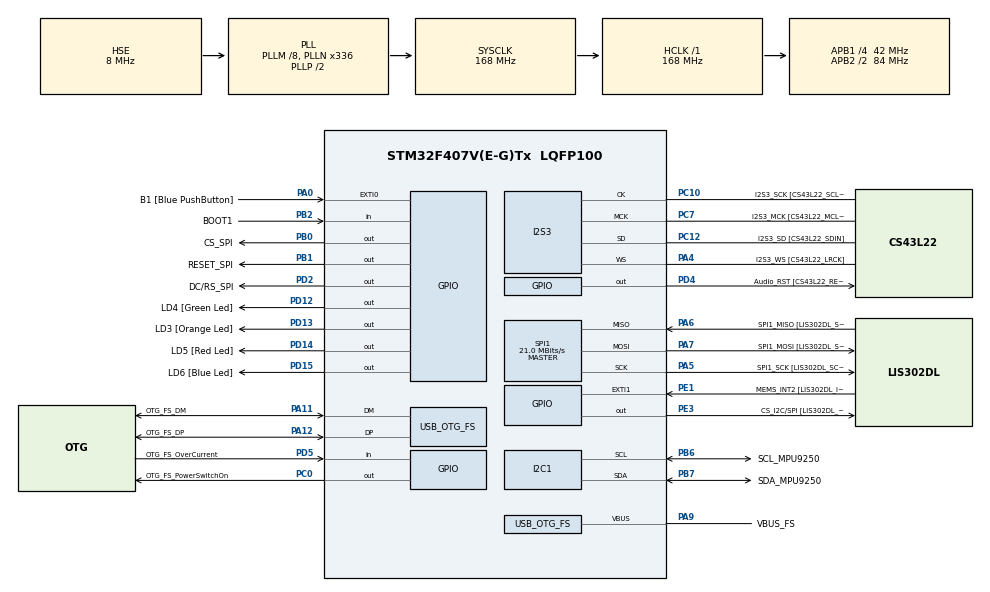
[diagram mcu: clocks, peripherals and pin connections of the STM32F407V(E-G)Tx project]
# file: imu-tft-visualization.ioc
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I2C1.I2C_Mode=I2C_Fast
I2S3.AudioFreq-Half_Duplex_Master=I2S_AUDIOFREQ_96K
I2S3.ErrorAudioFreq=-2.34 %
I2S3.ErrorAudioFreq-Half_Duplex_Master=0.8 %
I2S3.FullDuplexMode=I2S_FULLDUPLEXMODE_DISABLE
I2S3.Instance=SPI$Index
I2S3.RealAudioFreq=93.75 KHz
I2S3.RealAudioFreq-Half_Duplex_Master=96.774 KHz
I2S3.VirtualMode=I2S_MODE_MASTER
Mcu.Family=STM32F4
Mcu.Name=STM32F407V(E-G)Tx
Mcu.Package=LQFP100
NVIC.OTG_FS_IRQn=true\:0\:0\:false\:false\:true\:true\:true\:true
NVIC.PriorityGroup=NVIC_PRIORITYGROUP_0
PA0-WKUP.GPIO_Label=B1 [Blue PushButton]
PA0-WKUP.GPIO_ModeDefaultEXTI=GPIO_MODE_EVT_RISING
PA0-WKUP.GPIO_PuPd=GPIO_NOPULL
PA0-WKUP.Signal=GPXTI0
PA10.GPIO_Label=OTG_FS_ID
PA10.GPIO_Mode=GPIO_MODE_AF_PP
PA10.GPIO_PuPd=GPIO_NOPULL
PA10.GPIO_Speed=GPIO_SPEED_FREQ_LOW
PA10.Signal=USB_OTG_FS_ID
PA11.GPIO_Label=OTG_FS_DM
PA11.GPIO_Mode=GPIO_MODE_AF_PP
PA11.GPIO_PuPd=GPIO_NOPULL
PA11.GPIO_Speed=GPIO_SPEED_FREQ_LOW
PA11.Mode=Host_Only
PA11.Signal=USB_OTG_FS_DM
PA12.GPIO_Label=OTG_FS_DP
PA12.GPIO_Mode=GPIO_MODE_AF_PP
PA12.GPIO_PuPd=GPIO_NOPULL
PA12.GPIO_Speed=GPIO_SPEED_FREQ_LOW
PA12.Mode=Host_Only
PA12.Signal=USB_OTG_FS_DP
PA13.GPIO_Label=SWDIO
PA13.Mode=Serial_Wire
PA13.Signal=SYS_JTMS-SWDIO
PA14.GPIO_Label=SWCLK
PA14.Mode=Serial_Wire
PA14.Signal=SYS_JTCK-SWCLK
PA4.GPIO_Label=I2S3_WS [CS43L22_LRCK]
PA4.GPIO_Mode=GPIO_MODE_AF_PP
PA4.GPIO_PuPd=GPIO_NOPULL
PA4.GPIO_Speed=GPIO_SPEED_FREQ_LOW
PA4.Mode=Half_Duplex_Master
PA4.Signal=I2S3_WS
PA5.GPIO_Label=SPI1_SCK [LIS302DL_SCL/SPC]
PA5.GPIO_Mode=GPIO_MODE_AF_PP
PA5.GPIO_PuPd=GPIO_NOPULL
PA5.GPIO_Speed=GPIO_SPEED_FREQ_HIGH
PA5.Mode=Full_Duplex_Master
PA5.Signal=SPI1_SCK
PA6.GPIO_Label=SPI1_MISO [LIS302DL_SDO]
PA6.GPIO_Mode=GPIO_MODE_AF_PP
PA6.GPIO_PuPd=GPIO_NOPULL
PA6.GPIO_Speed=GPIO_SPEED_FREQ_HIGH
PA6.Mode=Full_Duplex_Master
PA6.Signal=SPI1_MISO
PA7.GPIO_Label=SPI1_MOSI [LIS302DL_SDA/SDI/SDO]
PA7.GPIO_Mode=GPIO_MODE_AF_PP
PA7.GPIO_PuPd=GPIO_NOPULL
PA7.GPIO_Speed=GPIO_SPEED_FREQ_HIGH
PA7.Mode=Full_Duplex_Master
PA7.Signal=SPI1_MOSI
PA9.GPIO_Label=VBUS_FS
PA9.GPIO_Mode=GPIO_MODE_INPUT
PA9.GPIO_PuPd=GPIO_NOPULL
PA9.Mode=Activate_VBUS
PA9.Signal=USB_OTG_FS_VBUS
PB0.GPIO_Label=CS_SPI
PB0.GPIO_Speed=GPIO_SPEED_FREQ_HIGH
PB0.PinState=GPIO_PIN_SET
PB0.Signal=GPIO_Output
PB1.GPIO_Label=RESET_SPI
PB1.GPIO_Speed=GPIO_SPEED_FREQ_HIGH
PB1.PinState=GPIO_PIN_SET
PB1.Signal=GPIO_Output
PB10.GPIO_Label=CLK_IN [MP45DT02_CLK]
PB10.GPIO_Mode=GPIO_MODE_AF_PP
PB10.GPIO_PuPd=GPIO_NOPULL
PB10.GPIO_Speed=GPIO_SPEED_FREQ_LOW
PB10.Signal=I2S2_CK
PB2.GPIO_Label=BOOT1
PB2.GPIO_Mode=GPIO_MODE_INPUT
PB2.GPIO_PuPd=GPIO_NOPULL
PB2.Signal=GPIO_Input
PB3.GPIO_Label=SWO
PB3.Signal=SYS_JTDO-SWO
PB6.GPIO_Label=SCL_MPU9250
PB6.GPIO_Mode=GPIO_MODE_AF_OD
PB6.GPIO_Pu=GPIO_PULLUP
PB6.GPIO_PuPd=GPIO_NOPULL
PB6.GPIO_Speed=GPIO_SPEED_FREQ_MEDIUM
PB6.Mode=I2C
PB6.Signal=I2C1_SCL
PB7.GPIO_Label=SDA_MPU9250
PB7.GPIO_Mode=GPIO_MODE_AF_OD
PB7.GPIO_Pu=GPIO_PULLUP
PB7.GPIO_Speed=GPIO_SPEED_FREQ_MEDIUM
PB7.Mode=I2C
PB7.Signal=I2C1_SDA
PC0.GPIO_Label=OTG_FS_PowerSwitchOn
PC0.GPIO_PuPd=GPIO_NOPULL
PC0.GPIO_Speed=GPIO_SPEED_FREQ_LOW
PC0.PinState=GPIO_PIN_SET
PC0.Signal=GPIO_Output
PC10.GPIO_Label=I2S3_SCK [CS43L22_SCLK]
PC10.GPIO_Mode=GPIO_MODE_AF_PP
PC10.GPIO_PuPd=GPIO_NOPULL
PC10.GPIO_Speed=GPIO_SPEED_FREQ_LOW
PC10.Mode=Half_Duplex_Master
PC10.Signal=I2S3_CK
PC12.GPIO_Label=I2S3_SD [CS43L22_SDIN]
PC12.GPIO_Mode=GPIO_MODE_AF_PP
PC12.GPIO_PuPd=GPIO_NOPULL
PC12.GPIO_Speed=GPIO_SPEED_FREQ_LOW
PC12.Mode=Half_Duplex_Master
PC12.Signal=I2S3_SD
PC14-OSC32_IN.GPIO_Label=PC14-OSC32_IN
PC14-OSC32_IN.Mode=LSE-External-Oscillator
PC14-OSC32_IN.Signal=RCC_OSC32_IN
PC15-OSC32_OUT.GPIO_Label=PC15-OSC32_OUT
PC15-OSC32_OUT.Mode=LSE-External-Oscillator
PC15-OSC32_OUT.Signal=RCC_OSC32_OUT
PC3.GPIO_Label=PDM_OUT [MP45DT02_DOUT]
PC3.GPIO_Mode=GPIO_MODE_AF_PP
PC3.GPIO_PuPd=GPIO_NOPULL
PC3.GPIO_Speed=GPIO_SPEED_FREQ_LOW
PC3.Signal=I2S2_SD
PC7.GPIO_Label=I2S3_MCK [CS43L22_MCLK]
PC7.GPIO_Mode=GPIO_MODE_AF_PP
PC7.GPIO_PuPd=GPIO_NOPULL
PC7.GPIO_Speed=GPIO_SPEED_FREQ_LOW
PC7.Mode=Master_Clock_Activated
PC7.Signal=I2S3_MCK
PD12.GPIO_Label=LD4 [Green Led]
PD12.GPIO_PuPd=GPIO_NOPULL
PD12.GPIO_Speed=GPIO_SPEED_FREQ_LOW
PD12.Signal=GPIO_Output
PD13.GPIO_Label=LD3 [Orange Led]
PD13.GPIO_PuPd=GPIO_NOPULL
PD13.GPIO_Speed=GPIO_SPEED_FREQ_LOW
PD13.Signal=GPIO_Output
PD14.GPIO_Label=LD5 [Red Led]
PD14.GPIO_PuPd=GPIO_NOPULL
PD14.GPIO_Speed=GPIO_SPEED_FREQ_LOW
PD14.Signal=GPIO_Output
PD15.GPIO_Label=LD6 [Blue Led]
PD15.GPIO_PuPd=GPIO_NOPULL
PD15.GPIO_Speed=GPIO_SPEED_FREQ_LOW
PD15.Signal=GPIO_Output
PD2.GPIO_Label=DC/RS_SPI
PD2.GPIO_Speed=GPIO_SPEED_FREQ_HIGH
PD2.PinState=GPIO_PIN_SET
PD2.Signal=GPIO_Output
PD4.GPIO_Label=Audio_RST [CS43L22_RESET]
PD4.GPIO_PuPd=GPIO_NOPULL
PD4.GPIO_Speed=GPIO_SPEED_FREQ_LOW
PD4.Signal=GPIO_Output
PD5.GPIO_Label=OTG_FS_OverCurrent
PD5.GPIO_Mode=GPIO_MODE_INPUT
PD5.GPIO_PuPd=GPIO_NOPULL
PD5.Signal=GPIO_Input
PE1.GPIO_Label=MEMS_INT2 [LIS302DL_INT2]
PE1.GPIO_ModeDefaultEXTI=GPIO_MODE_EVT_RISING
PE1.GPIO_PuPd=GPIO_NOPULL
PE1.Signal=GPXTI1
PE3.GPIO_Label=CS_I2C/SPI [LIS302DL_CS_I2C/SPI]
PE3.GPIO_PuPd=GPIO_NOPULL
PE3.GPIO_Speed=GPIO_SPEED_FREQ_LOW
PE3.Signal=GPIO_Output
PH0-OSC_IN.GPIO_Label=PH0-OSC_IN
PH0-OSC_IN.Mode=HSE-External-Oscillator
PH0-OSC_IN.Signal=RCC_OSC_IN
PH1-OSC_OUT.GPIO_Label=PH1-OSC_OUT
PH1-OSC_OUT.Mode=HSE-External-Oscillator
PH1-OSC_OUT.Signal=RCC_OSC_OUT
ProjectManager.HeapSize=0x200
ProjectManager.StackSize=0x400
ProjectManager.TargetToolchain=STM32CubeIDE
RCC.48MHZClocksFreq_Value=48000000
RCC.AHBFreq_Value=168000000
RCC.APB1CLKDivider=RCC_HCLK_DIV4
RCC.APB1Freq_Value=42000000
RCC.APB1TimFreq_Value=84000000
RCC.APB2CLKDivider=RCC_HCLK_DIV2
RCC.APB2Freq_Value=84000000
RCC.APB2TimFreq_Value=168000000
RCC.CortexFreq_Value=168000000
RCC.HCLKFreq_Value=168000000
RCC.HSE_VALUE=8000000
RCC.HSI_VALUE=16000000
RCC.PLLM=8
RCC.PLLN=336
RCC.PLLQ=7
RCC.SYSCLKFreq_VALUE=168000000
RCC.SYSCLKSource=RCC_SYSCLKSOURCE_PLLCLK
RCC.VCOOutputFreq_Value=336000000
SPI1.BaudRatePrescaler=SPI_BAUDRATEPRESCALER_4
SPI1.BaudRatePrescaler-Full_Duplex_Master=SPI_BAUDRATEPRESCALER_2
SPI1.CalculateBaudRate=21.0 MBits/s
SPI1.CalculateBaudRate-Full_Duplex_Master=42.0 MBits/s
SPI1.Direction=SPI_DIRECTION_2LINES
SPI1.Mode=SPI_MODE_MASTER
SPI1.Mode-Full_Duplex_Master=SPI_MODE_MASTER
SPI1.VirtualType=VM_MASTER
USB_HOST.BSP.number=1
USB_HOST.USBH_HandleTypeDef-CDC_FS=hUsbHostFS
USB_HOST.VirtualModeFS=Cdc
USB_HOST0.BSP.STBoard=false
USB_HOST0.BSP.api=Unknown
USB_HOST0.BSP.instance=PC0
USB_HOST0.BSP.ip=GPIO
USB_HOST0.BSP.mode=Output
USB_HOST0.BSP.name=Drive_VBUS_FS
USB_HOST0.BSP.solution=PC0
USB_OTG_FS.VirtualMode=Host_Only
USB_OTG_FS.phy_itface=HCD_PHY_EMBEDDED
VP_USB_HOST_VS_USB_HOST_CDC_FS.Mode=CDC_FS
board=STM32F407G-DISC1

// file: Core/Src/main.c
/* USER CODE BEGIN Header */
/**
  ******************************************************************************
  * @file           : main.c
  * @brief          : Main program body
  ******************************************************************************
  * @attention
  *
  * Copyright (c) 2025 STMicroelectronics.
  * All rights reserved.
  *
  * This software is licensed under terms that can be found in the LICENSE file
  * in the root directory of this software component.
  * If no LICENSE file comes with this software, it is provided AS-IS.
  *
  ******************************************************************************
  */
/* USER CODE END Header */
#include "main.h"
#include "i2c.h"
#include "i2s.h"
#include "spi.h"
#include "usb_host.h"
#include "gpio.h"

/* USER CODE BEGIN Includes */
#include <stdio.h>
#include <math.h>
#include <mpu9250.h>
#include "ILI9341_STM32_Driver.h"
#include "ILI9341_GFX.h"

/* USER CODE END Includes */

void SystemClock_Config(void);
void MX_USB_HOST_Process(void);

/* USER CODE BEGIN 0 */
int16_t AccelGyroData[6];
int16_t MagData[3];
/* USER CODE END 0 */

int main(void)
{

  /* MCU Configuration--------------------------------------------------------*/

  /* Reset of all peripherals, Initializes the Flash interface and the Systick. */
  HAL_Init();

  /* Configure the system clock */
  SystemClock_Config();

  /* Initialize all configured peripherals */
  MX_GPIO_Init();
  MX_I2C1_Init();
  MX_I2S3_Init();
  MX_SPI1_Init();
  MX_USB_HOST_Init();
  /* USER CODE BEGIN 2 */

  MPU9250_Init();
  AK8963_Init();

  ILI9341_Init();
  ILI9341_SetRotation(SCREEN_HORIZONTAL_1);  // 가로 모드 설정
  /* USER CODE END 2 */

  /* Infinite loop */
  while (1)
  {
    MX_USB_HOST_Process();

    /* USER CODE BEGIN 3 */

    MPU9250_Read_Accel_Gyro(AccelGyroData);
    MPU9250_Read_Mag(MagData);

    // 변환 (±2g 설정 → 16384 LSB = 1g)
    float ax_g = (float)AccelGyroData[0] / 16384.0f;
    float ay_g = (float)AccelGyroData[1] / 16384.0f;
    float az_g = (float)AccelGyroData[2] / 16384.0f;

    // Pitch, Roll 계산 (단위: 라디안 → degree 변환)
    float pitch = atan2f(ax_g, sqrtf(ay_g*ay_g + az_g*az_g)) * 180.0f / M_PI;
    float roll  = atan2f(ay_g, sqrtf(ax_g*ax_g + az_g*az_g)) * 180.0f / M_PI;

    // 자력계 원시값
    float mx = (float)MagData[0];
    float my = (float)MagData[1];
    float mz = (float)MagData[2];

    // Pitch, Roll 값 (라디안으로 변환)
    float pitchRad = pitch * M_PI / 180.0f;
    float rollRad  = roll  * M_PI / 180.0f;

    // Tilt 보정
    float mx_comp = mx * cosf(pitchRad) + mz * sinf(pitchRad);
    float my_comp = mx * sinf(rollRad) * sinf(pitchRad)
                  + my * cosf(rollRad)
                  - mz * sinf(rollRad) * cosf(pitchRad);

    // Yaw 계산 (단위: 도)
    float yaw = atan2f(-my_comp, mx_comp) * 180.0f / M_PI;
    if (yaw < 0) yaw += 360.0f;  // 0~360° 범위로 보정

    // ---------------------- LCD 출력 ---------------------------------

    char buf[30];
    ILI9341_FillScreen(BLACK); // 새로 그리기 전에 화면 지움

    sprintf(buf, "Pitch: %.2f deg", pitch);
    ILI9341_DrawText(buf, Arial_Narrow12x16, 10, 120, WHITE, BLACK);

    sprintf(buf, "Roll : %.2f deg", roll);
    ILI9341_DrawText(buf, Arial_Narrow12x16, 10, 140, WHITE, BLACK);

    sprintf(buf, "Yaw  : %.2f deg", yaw);
	ILI9341_DrawText(buf, Arial_Narrow12x16, 10, 160, WHITE, BLACK);

    // 숫자 출력 ----------------------
    sprintf(buf, "AX: %.2f g", ax_g);
    ILI9341_DrawText(buf, Arial_Narrow12x16, 10, 10, WHITE, BLACK);

    sprintf(buf, "AY: %.2f g", ay_g);
    ILI9341_DrawText(buf, Arial_Narrow12x16, 10, 30, WHITE, BLACK);

    sprintf(buf, "AZ: %.2f g", az_g);
    ILI9341_DrawText(buf, Arial_Narrow12x16, 10, 50, WHITE, BLACK);

    // 그래프 출력 ----------------------
    // 기준점
    int baseX = 180;  // 그래프 시작 X (화면 가운데)
    int startY = 10; // Y 위치

    // 스케일링 (±2g → ±100픽셀)
    int scale = 50; // 1g = 50픽셀
    int bar_ax = (int)(ax_g * scale);
    int bar_ay = (int)(ay_g * scale);
    int bar_az = (int)(az_g * scale);

    // X축 그래프 (빨강)
    if (bar_ax >= 0)
        ILI9341_DrawFilledRectangleCoord(baseX, startY, baseX + bar_ax, startY + 10, RED);
    else
        ILI9341_DrawFilledRectangleCoord(baseX + bar_ax, startY, baseX, startY + 10, RED);

    // Y축 그래프 (초록)
    if (bar_ay >= 0)
        ILI9341_DrawFilledRectangleCoord(baseX, startY + 20, baseX + bar_ay, startY + 30, GREEN);
    else
        ILI9341_DrawFilledRectangleCoord(baseX + bar_ay, startY + 20, baseX, startY + 30, GREEN);

    // Z축 그래프 (파랑)
    if (bar_az >= 0)
        ILI9341_DrawFilledRectangleCoord(baseX, startY + 40, baseX + bar_az, startY + 50, BLUE);
    else
        ILI9341_DrawFilledRectangleCoord(baseX + bar_az, startY + 40, baseX, startY + 50, BLUE);

    HAL_Delay(5); // 10Hz
  }
  /* USER CODE END 3 */
}

void SystemClock_Config(void)
{
  RCC_OscInitTypeDef RCC_OscInitStruct = {0};
  RCC_ClkInitTypeDef RCC_ClkInitStruct = {0};

  /** Configure the main internal regulator output voltage
  */
  __HAL_RCC_PWR_CLK_ENABLE();
  __HAL_PWR_VOLTAGESCALING_CONFIG(PWR_REGULATOR_VOLTAGE_SCALE1);

  /** Initializes the RCC Oscillators according to the specified parameters
  * in the RCC_OscInitTypeDef structure.
  */
  RCC_OscInitStruct.OscillatorType = RCC_OSCILLATORTYPE_HSE;
  RCC_OscInitStruct.HSEState = RCC_HSE_ON;
  RCC_OscInitStruct.PLL.PLLState = RCC_PLL_ON;
  RCC_OscInitStruct.PLL.PLLSource = RCC_PLLSOURCE_HSE;
  RCC_OscInitStruct.PLL.PLLM = 8;
  RCC_OscInitStruct.PLL.PLLN = 336;
  RCC_OscInitStruct.PLL.PLLP = RCC_PLLP_DIV2;
  RCC_OscInitStruct.PLL.PLLQ = 7;
  if (HAL_RCC_OscConfig(&RCC_OscInitStruct) != HAL_OK)
  {
    Error_Handler();
  }

  /** Initializes the CPU, AHB and APB buses clocks
  */
  RCC_ClkInitStruct.ClockType = RCC_CLOCKTYPE_HCLK|RCC_CLOCKTYPE_SYSCLK
                              |RCC_CLOCKTYPE_PCLK1|RCC_CLOCKTYPE_PCLK2;
  RCC_ClkInitStruct.SYSCLKSource = RCC_SYSCLKSOURCE_PLLCLK;
  RCC_ClkInitStruct.AHBCLKDivider = RCC_SYSCLK_DIV1;
  RCC_ClkInitStruct.APB1CLKDivider = RCC_HCLK_DIV4;
  RCC_ClkInitStruct.APB2CLKDivider = RCC_HCLK_DIV2;

  if (HAL_RCC_ClockConfig(&RCC_ClkInitStruct, FLASH_LATENCY_5) != HAL_OK)
  {
    Error_Handler();
  }
}

void Error_Handler(void)
{
  __disable_irq();
  while (1)
  {
  }
}
